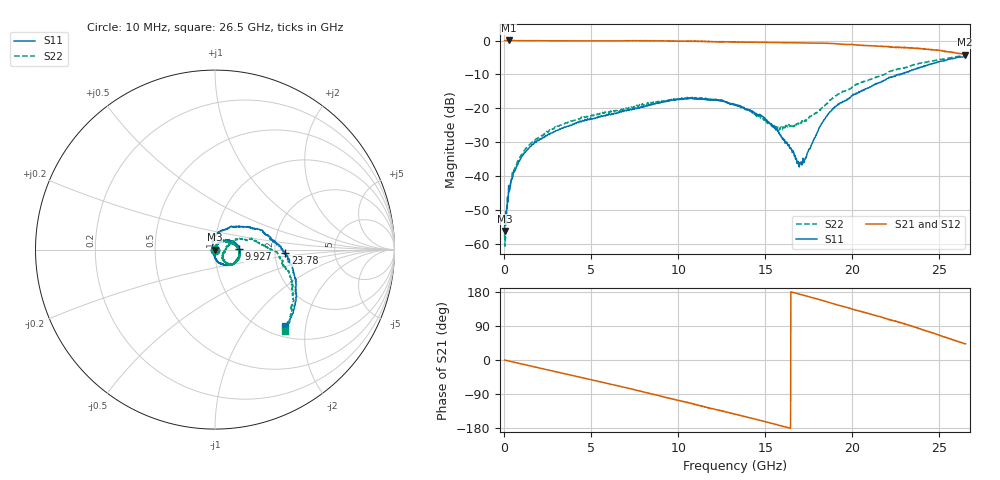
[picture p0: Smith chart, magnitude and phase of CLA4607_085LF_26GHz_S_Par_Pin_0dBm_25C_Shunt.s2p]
!Agilent Technologies,N5242A,MY49421564,A.09.80.20
!Agilent N5242A: A.09.80.20
!Date: Tuesday, November 08, 2016 23:47:21
!Correction: S33(Full 2 Port(3,4))
!S43(Full 2 Port(3,4))
!S34(Full 2 Port(3,4))
!S44(Full 2 Port(3,4))
!S2P File: Measurements: S33, S43, S34, S44:
# Hz S  dB  R 50
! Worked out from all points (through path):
!   1601 points, 10 MHz to 26.5 GHz, reference 50 ohm
!   highest |S21| = 0.04 dB at 241.8 MHz (marker M1); lowest = -4.2 dB at 26.48 GHz (marker M2)
!   group delay of S21, straight-line fit = 32.7 ps
!   lowest |S11| = -56.3 dB at 10 MHz (marker M3), VSWR 1.00, Z = 49.9 - j0.0781 ohm
!   |S11| at or under -10 dB: start of sweep to 22.62 GHz; 22.64025 GHz to 22.6866 GHz (46.34 MHz wide, 0.204 % of centre); 22.69639 GHz to 22.74501 GHz (48.62 MHz wide, 0.214 % of centre)
!   |S22| runs from -60.8 to -4.5 dB; largest |S21 - S12| = 0.026
!   S11 on the Smith chart (normalised r, x): 10 MHz: 1.00, -0.00; 9.927 GHz: 1.31, +0.01; 23.78 GHz: 2.29, -0.10; 26.5 GHz: 1.20, -1.55
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1e7  -56.28 -149.3  0.01 -0.1  0.00 -0.1  -57.27 -81.4
2.417875e8  -42.85 128.7  0.04 -2.6  -0.01 -2.6  -44.90 78.2
5.729125e8  -38.78 85.0  -0.00 -6.1  -0.01 -6.1  -38.06 80.2
1.317944e9  -32.27 71.6  -0.03 -13.9  -0.04 -13.9  -31.54 66.6
2.990125e9  -26.55 57.6  -0.06 -31.3  -0.08 -31.3  -25.71 52.0
4.430519e9  -24.02 47.8  -0.08 -46.3  -0.07 -46.4  -22.62 40.8
7.013294e9  -20.79 33.1  -0.07 -73.4  -0.08 -73.4  -20.00 20.6
8.851038e9  -18.56 17.4  -0.11 -93.6  -0.11 -93.5  -18.03 5.4
9.927194e9  -17.37 2.1  -0.19 -105.7  -0.15 -105.4  -17.36 -5.3
1.3255e10  -19.00 -50.5  -0.45 -143.5  -0.34 -142.9  -18.91 -48.5
1.476162e10  -22.26 -71.8  -0.51 -160.0  -0.39 -159.6  -22.93 -51.0
1.545698e10  -25.57 -82.2  -0.58 -168.1  -0.48 -168.2  -24.89 -36.0
1.694704e10  -37.34 -165.7  -0.69 173.9  -0.62 173.8  -24.16 2.7
1.72285e10  -35.69 145.6  -0.70 170.4  -0.64 170.2  -23.83 7.3
1.767552e10  -30.52 116.2  -0.73 164.9  -0.70 164.6  -22.02 15.6
1.82881e10  -24.23 97.4  -0.77 157.1  -0.72 156.6  -19.69 23.8
1.903313e10  -19.47 73.7  -0.91 146.8  -0.94 146.3  -16.30 23.3
2.209604e10  -10.87 21.9  -1.78 106.6  -1.74 106.7  -9.18 -2.4
2.378478e10  -8.12 -2.7  -2.21 84.3  -2.43 84.0  -6.87 -20.7
2.547351e10  -5.62 -30.2  -3.25 57.8  -3.29 58.6  -5.24 -38.9
2.648344e10  -4.79 -47.4  -4.15 42.9  -4.25 42.6  -4.53 -49.4
2.65e10  -4.73 -47.6  -4.08 42.7  -4.23 42.6  -4.48 -49.4
